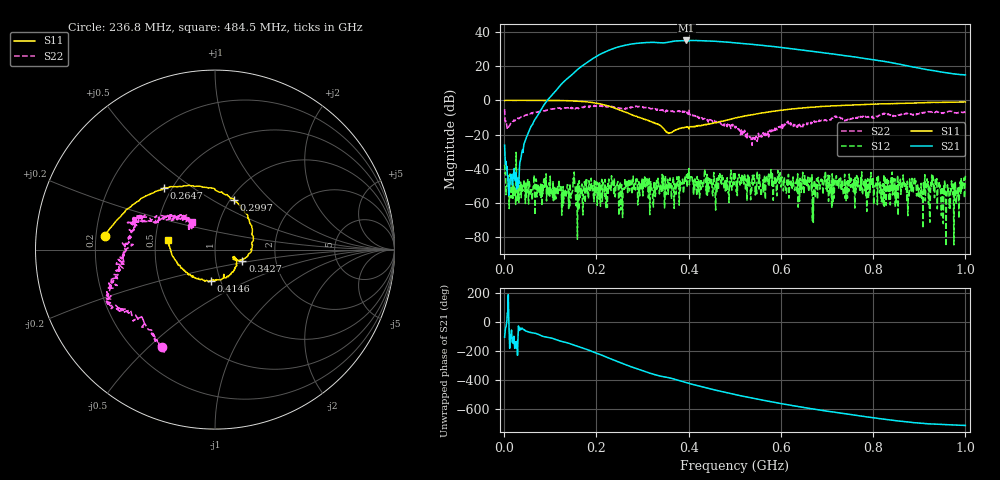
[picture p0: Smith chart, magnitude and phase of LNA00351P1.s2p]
! Created with skrf 1.9.0 (http://scikit-rf.org).
# Hz S RI R 50.0
!freq ReS11 ImS11 ReS21 ImS21 ReS12 ImS12 ReS22 ImS22
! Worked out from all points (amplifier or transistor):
!   1001 points, 1 MHz to 1 GHz, reference 50 ohm
!   highest |S21| = 35.0 dB at 394.6 MHz (marker M1)
!   |S21| within 3 dB of that: 259.4 MHz to 563.3 MHz (303.9 MHz wide, 73.9 % of centre)
!   unconditionally stable (mu >= 1): 24.52 MHz to 71.62 MHz; 233.9 MHz to 400.5 MHz; 400.7 MHz to end of sweep (the widest 3 of 35)
!   at 166.8 MHz: K = 1.69, MAG = 31.0 dB, |S12| = -52.0 dB
!   at 500.5 MHz: K = 1.32, MAG = 34.5 dB, |S12| = -42.2 dB
!   at 1 GHz: K = 2.25, MAG = 23.2 dB, |S12| = -44.1 dB
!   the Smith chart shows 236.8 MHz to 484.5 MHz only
!   S11 on the Smith chart (normalised r, x): 236.8 MHz: 0.24, +0.06; 264.7 MHz: 0.45, +0.39; 299.7 MHz: 1.04, +0.63; 342.7 MHz: 1.35, -0.17; 414.6 MHz: 0.90, -0.32; 484.5 MHz: 0.58, +0.06
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1000000  0.9857 -0.000997  -0.0133 -0.0477  -0.0113 0.0069  0.442 0.3236
1.08892e8  0.509 -0.8528  -0.8124 -1.512  -0.000839 -0.00096  0.4222 -0.3721
1.67833e8  -0.256 -0.8926  -9.838 -0.5033  -0.00149 -0.00126  0.0463 -0.6281
2.07793e8  -0.674 -0.3986  -15.61 15.5  0.00106 -0.00213  -0.1802 -0.6478
2.36764e8  -0.6124 0.0775  -4.548 32.36  -0.00348 0.00201  -0.2974 -0.5405
2.64736e8  -0.2851 0.3453  18.59 36.9  -0.000724 0.00468  -0.4357 -0.3838
2.99701e8  0.105 0.2754  44.23 18.92  -0.0026 0.00203  -0.5958 -0.2568
3.17683e8  0.2048 0.1318  48.99 3.598  0.000861 0.00436  -0.5381 -0.1667
3.34666e8  0.2005 -0.0145  47.58 -9.647  -0.00139 0.00376  -0.5092 -0.0763
3.42658e8  0.1526 -0.0612  45.72 -14.17  0.0045 0.00521  -0.5275 -0.0576
3.68632e8  0.1155 -0.0526  44.03 -30.67  0.000517 0.000474  -0.446 0.1404
3.94606e8  0.0722 -0.1484  28.88 -48.13  0.00277 0.00461  -0.4045 0.1935
4.14586e8  -0.0221 -0.1723  13.28 -54.2  0.00347 0.00147  -0.3209 0.1549
4.45555e8  -0.1647 -0.1202  -10.47 -52.93  0.00501 0.00278  -0.2018 0.185
4.84516e8  -0.262 0.0516  -32.48 -38.35  0.00165 0.00202  -0.1308 0.1539
5.005e8  -0.2714 0.1411  -37.9 -29.77  0.00331 0.00704  -0.1042 0.119
5.4046e8  -0.1843 0.3406  -41.67 -8.953  0.00419 -0.000652  -0.0762 0.0305
5.88412e8  0.0205 0.4903  -34.92 10.95  0.00253 -0.00275  -0.123 -0.0552
6.67333e8  0.3993 0.4919  -13.37 23.36  0.00552 -0.00377  -0.2099 -0.0438
7.53247e8  0.6733 0.2766  3.595 18.63  -0.00441 -0.00228  -0.2901 0.0341
8.34166e8  0.7971 0.0193  9.342 9.048  0.00101 -0.000644  -0.3847 0.0616
1e9  0.7266 -0.5285  5.507 0.4795  -0.00604 0.00158  -0.2131 0.3854
